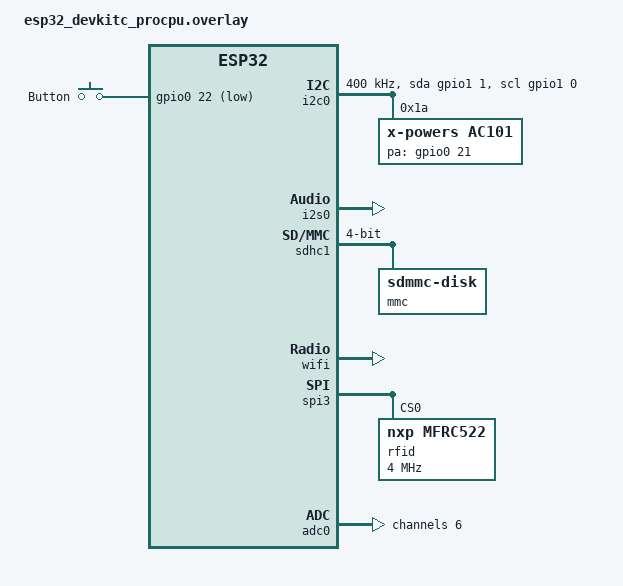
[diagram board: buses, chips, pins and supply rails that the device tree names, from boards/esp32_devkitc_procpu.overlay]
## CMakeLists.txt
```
cmake_minimum_required(VERSION 3.20.0)

find_package(Zephyr REQUIRED HINTS $ENV{ZEPHYR_BASE})
project(wirbelwind)

target_include_directories(app PRIVATE src lib/minimp3)

target_sources(app PRIVATE
    src/main.c
    src/events.c
    src/storage.c
    src/playlist.c
    src/resume.c
    src/player.c
    src/controller.c
    src/inputs.c
    src/shell.c)

# minimp3 mixes float and double constants
set_source_files_properties(src/player.c PROPERTIES COMPILE_OPTIONS -Wno-double-promotion)

# native_sim: simulated hardware and host audio output
target_sources_ifdef(CONFIG_WW_SIM app PRIVATE src/native/sim.c)
if(CONFIG_WW_AUDIO_NATIVE)
  target_sources(app PRIVATE src/native/audio.c)
  # Runs on the Linux side of native_sim (host libc), see native_simulator docs
  target_sources(native_simulator INTERFACE ${CMAKE_CURRENT_SOURCE_DIR}/src/native/audio_bottom.c)
endif()

# RFID reader
target_sources_ifdef(CONFIG_WW_RFID app PRIVATE
    src/rfid/mfrc522.c
    src/rfid/reader.c)
target_sources_ifdef(CONFIG_WW_RFID_EMUL app PRIVATE src/native/mfrc522_emul.c)

# ESP32-A1S: I2S + AC101 codec
target_sources_ifdef(CONFIG_WW_AUDIO_AC101 app PRIVATE
    src/resample.c
    src/esp32a1s/ac101.c
    src/esp32a1s/audio.c)

target_sources_ifdef(CONFIG_WW_WIFI_AP app PRIVATE src/wifi.c)

if(CONFIG_WW_HTTP)
  target_sources(app PRIVATE src/http.c)
  set(gen_dir ${ZEPHYR_BINARY_DIR}/include/generated)
  zephyr_include_directories(${gen_dir})
  generate_inc_file_for_target(app web/index.html ${gen_dir}/index.html.gz.inc --gzip)
  # Linker section for the resources of the "ww_http" service
  file(WRITE ${CMAKE_CURRENT_BINARY_DIR}/http_sections.ld
    "#include <zephyr/linker/iterable_sections.h>\n"
    "ITERABLE_SECTION_ROM(http_resource_desc_ww_http, Z_LINK_ITERABLE_SUBALIGN)\n")
  zephyr_linker_sources(SECTIONS ${CMAKE_CURRENT_BINARY_DIR}/http_sections.ld)
endif()
```

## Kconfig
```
# Copyright 2025 Christoph Jans
# SPDX-License-Identifier: Apache-2.0

mainmenu "WirbelWind"

menu "WirbelWind"

module = WW
module-str = wirbelwind
source "subsys/logging/Kconfig.template.log_config"

config WW_SD_MOUNT_POINT
	string "Mount point of the SD card"
	default "/SD:"
	help
	  FatFs mount point. The part between '/' and ':' must match the
	  disk name of the SD card (disk-name of the flash-disk on native_sim,
	  "SD" for the sdmmc disk on real hardware).

config WW_PLAYLIST_MAX_TRACKS
	int "Maximum number of tracks per playlist"
	default 64

config WW_PLAYLIST_BUF_SIZE
	int "Buffer size for one playlist (JSON + strings)"
	default 6144

config WW_VOLUME_MAX
	int "Maximum volume step"
	default 20

config WW_VOLUME_DEFAULT
	int "Volume on boards without a volume potentiometer"
	default 8

config WW_BUTTON_LONG_MS
	int "Button: minimum duration of a long press (restart playlist) [ms]"
	default 1000

config WW_BUTTON_LONGLONG_MS
	int "Button: minimum duration of a very long press (reset all playlists) [ms]"
	default 10000

config WW_RESUME_SAVE_INTERVAL_S
	int "Interval for persisting the play position while playing [s]"
	default 30

config WW_CONTROLLER_STACK_SIZE
	int "Controller thread stack size"
	default 4096

config WW_PLAYER_STACK_SIZE
	int "Player thread stack size"
	default 32768
	help
	  minimp3 keeps its ~16 KiB scratch area on the stack.

config WW_PLAYER_PRIORITY
	int "Player thread priority"
	default 4

config WW_PLAYER_INBUF_SIZE
	int "MP3 input buffer size"
	default 16384

config WW_RFID
	bool "RFID reader: MFRC522 (rfid/)"
	default y
	depends on DT_HAS_NXP_MFRC522_ENABLED
	select SPI

if WW_RFID

config WW_RFID_INIT_PRIORITY
	int "MFRC522 driver init priority"
	default 90
	help
	  Must be after the SPI controller (and its emulators on native_sim).

config WW_RFID_POLL_MS
	int "Poll interval of the tag reader [ms]"
	default 250

config WW_RFID_REMOVE_POLLS
	int "Polls without the card before it counts as removed"
	default 3

endif

config WW_RFID_EMUL
	bool "Emulated MFRC522 with a card placed from the shell (native/mfrc522_emul.c)"
	default y if BOARD_NATIVE_SIM
	depends on WW_RFID && EMUL && SPI_EMUL && SHELL
	help
	  "ww tag place <uid>" / "ww tag remove" put a card on the emulated
	  reader, so the real driver and tag reader run in the simulation.

config WW_TAG_SHELL
	bool "Shell commands that post tag events directly (ww tag place/remove)"
	default y
	depends on SHELL && !WW_RFID_EMUL
	help
	  Bypasses the RFID reader, useful on real hardware to try playlists
	  without tags.

config WW_SIM
	bool "Simulated button and volume pot (native/sim.c)"
	default y if BOARD_NATIVE_SIM
	depends on SHELL && GPIO_EMUL && ADC_EMUL
	help
	  Shell commands "ww button" and "ww pot" that drive the controls of
	  the box through the GPIO and ADC emulators.

config WW_AUDIO_NATIVE
	bool "Host audio output on native_sim (native/audio.c)"
	default y
	depends on ARCH_POSIX
	help
	  Pipes the PCM to a host command (--audio_cmd) or writes it to a
	  file (--audio_file).

config WW_AUDIO_AC101
	bool "ESP32-A1S audio output: I2S + AC101 codec (esp32a1s/)"
	default y
	depends on DT_HAS_X_POWERS_AC101_ENABLED
	select I2S
	select I2C

if WW_AUDIO_AC101

config WW_AC101_HP_VOLUME
	int "AC101 headphone output level (0..63)"
	range 0 63
	default 40

config WW_AC101_SPK_VOLUME
	int "AC101 speaker output level (0..31)"
	range 0 31
	default 20

endif

config WW_WIFI_AP
	bool "WiFi hotspot at startup when no tag is on the box (wifi.c)"
	default y
	depends on WIFI && NET_DHCPV4_SERVER

if WW_WIFI_AP

config WW_WIFI_AP_SSID
	string "Hotspot name"
	default "music.Box"

config WW_WIFI_AP_PSK
	string "Hotspot password (8..63 characters, empty = open network)"
	default ""

config WW_WIFI_AP_IP
	string "Address of the box in the hotspot (/24)"
	default "192.168.4.1"

config WW_WIFI_AP_DELAY_MS
	int "Time after startup to wait for a tag before opening the hotspot [ms]"
	default 3000

endif

config WW_HTTP
	bool "Web interface"
	default y
	depends on HTTP_SERVER

if WW_HTTP

config WW_HTTP_PORT
	int "Web interface TCP port"
	default 80

config WW_HTTP_RESPONSE_SIZE
	int "Buffer for one JSON response"
	default 8192

endif

endmenu

source "Kconfig.zephyr"
```

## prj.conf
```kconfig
CONFIG_LOG=y
CONFIG_SHELL=y
# Logs go through the shell. Buffer the boot messages until the shell is up,
# otherwise they are lost
CONFIG_LOG_MODE_DEFERRED=y
CONFIG_LOG_PROCESS_THREAD_STARTUP_DELAY_MS=200
CONFIG_LOG_PROCESS_TRIGGER_THRESHOLD=1

# FPU is used by the MP3 decoder
CONFIG_FPU=y

# SD card with FAT, used by several threads (player, shell, web)
CONFIG_DISK_ACCESS=y
CONFIG_FILE_SYSTEM=y
CONFIG_FAT_FILESYSTEM_ELM=y
CONFIG_FS_FATFS_LFN=y
CONFIG_FS_FATFS_LFN_MODE_STACK=y
CONFIG_FS_FATFS_REENTRANT=y
CONFIG_FS_FATFS_CODEPAGE=850
CONFIG_FS_FATFS_NUM_FILES=6
CONFIG_FS_FATFS_NUM_DIRS=4

# Playlists are stored as JSON
CONFIG_JSON_LIBRARY=y

# Resume positions and volume live in internal flash
CONFIG_FLASH=y
CONFIG_FLASH_MAP=y
CONFIG_NVS=y
CONFIG_SETTINGS=y

# Button and volume potentiometer
CONFIG_INPUT=y
CONFIG_ADC=y

# Web interface (network: host sockets on native_sim, WiFi hotspot on the ESP32)
CONFIG_NETWORKING=y
CONFIG_NET_IPV4=y
CONFIG_NET_IPV6=n
CONFIG_NET_TCP=y
CONFIG_NET_SOCKETS=y
CONFIG_ZVFS_OPEN_MAX=24
CONFIG_ZVFS_POLL_MAX=16
CONFIG_HTTP_SERVER=y
CONFIG_HTTP_SERVER_VERSION_2=n
CONFIG_HTTP_SERVER_CLIENT_BUFFER_SIZE=2048
CONFIG_HTTP_SERVER_STACK_SIZE=6144

CONFIG_MAIN_STACK_SIZE=4096
CONFIG_SHELL_STACK_SIZE=4096
```

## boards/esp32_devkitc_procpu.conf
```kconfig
# Ai-Thinker ESP32 Audio Kit (ESP32-A1S, AC101), see the .overlay

# SD card on the SDMMC host
CONFIG_SDHC=y
CONFIG_DISK_DRIVER_SDMMC=y

CONFIG_GPIO=y
CONFIG_I2C=y
CONFIG_I2S=y
CONFIG_SPI=y
# The A1S module has 8 MB PSRAM (like the WROVER-E of the base board); the
# WiFi driver keeps its heap there, internal RAM is too small for everything
CONFIG_ESP_SPIRAM=y
CONFIG_ESP_WIFI_HEAP_SPIRAM=y

# WiFi hotspot "music.Box" with DHCP server (wifi.c)
CONFIG_WIFI=y
CONFIG_NET_L2_WIFI_MGMT=y
CONFIG_NET_MGMT=y
CONFIG_NET_MGMT_EVENT=y
CONFIG_NET_UDP=y
CONFIG_NET_DHCPV4_SERVER=y

# Short SD card hiccups must not stop the I2S stream
CONFIG_I2S_ESP32_ALLOWED_EMPTY_TX_QUEUE_DEFERRAL_TIME_MS=20
```

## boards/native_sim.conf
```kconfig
# The "SD card" is a FAT image on a second flash simulator instance
CONFIG_DISK_DRIVER_FLASH=y
# Format the image on first start if it does not contain a FAT yet
CONFIG_FS_FATFS_MKFS=y
CONFIG_FS_FATFS_MOUNT_MKFS=y

CONFIG_GPIO=y

# Emulated RFID reader on the SPI emulator
CONFIG_SPI=y
CONFIG_EMUL=y

# Logs go to the shell only (run with -uart_stdinout for an interactive terminal)
CONFIG_LOG_BACKEND_NATIVE_POSIX=n

# Network through the host's sockets: http://localhost:8080
CONFIG_ETH_NATIVE_TAP=n
CONFIG_NET_DRIVERS=y
CONFIG_NET_SOCKETS_OFFLOAD=y
CONFIG_NET_NATIVE_OFFLOADED_SOCKETS=y
CONFIG_WW_HTTP_PORT=8080
```

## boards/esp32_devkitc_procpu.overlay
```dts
/*
 * Copyright (c) 2025 Christoph Jans <jans.christoph@gmail.com>
 *
 * SPDX-License-Identifier: Apache-2.0
 *
 * Ai-Thinker ESP32 Audio Kit v2.2 (ESP32-A1S with AC101 codec) on top of
 * esp32_devkitc. Pins as used by the Arduino version of the box.
 *
 *   I2S0   BCLK 27, LRCK 26, DOUT 25 (to the codec), MCLK 0 (see esp32a1s/audio.c)
 *   I2C0   SDA 33, SCL 32: AC101 at 0x1a
 *   PA     21 (speaker amplifier enable)
 *   SD     4 bit: CLK 14, CMD 15, D0 2, D1 4, D2 12, D3 13
 *   Button 22
 *   Pot    34 (ADC1 channel 6)            <- placeholder, adjust to the wiring
 *   RFID   MFRC522 on VSPI: SCK 18, MISO 19, MOSI 23, CS 5 (spi3)
 *   WiFi   hotspot "music.Box" at startup without a tag (wifi.c)
 */

#include <zephyr/dt-bindings/adc/adc.h>
#include <zephyr/dt-bindings/i2c/i2c.h>

/ {
	/* Volume potentiometer, see inputs.c */
	volume_pot: volume_pot {
		compatible = "analog-axis";
		poll-period-ms = <50>;

		axis {
			io-channels = <&adc0 6>;
			in-min = <0>;
			in-max = <4095>;
			out-min = <0>;
			out-max = <1000>;
			zephyr,axis = <INPUT_ABS_THROTTLE>;
		};
	};
};

/* The base board's BOOT button (GPIO0 is MCLK here) becomes the box button */
&button0 {
	gpios = <&gpio0 22 (GPIO_PULL_UP | GPIO_ACTIVE_LOW)>;
	label = "Button";
	zephyr,code = <INPUT_KEY_NEXTSONG>;
};

&i2c0_default {
	group1 {
		pinmux = <I2C0_SDA_GPIO33>,
			 <I2C0_SCL_GPIO32>;
	};
};

&i2c0 {
	clock-frequency = <I2C_BITRATE_FAST>;
	sda-gpios = <&gpio1 1 GPIO_OPEN_DRAIN>;
	scl-gpios = <&gpio1 0 GPIO_OPEN_DRAIN>;

	ac101: codec@1a {
		compatible = "x-powers,ac101";
		reg = <0x1a>;
		i2s = <&i2s0>;
		pa-gpios = <&gpio0 21 GPIO_ACTIVE_HIGH>;
	};
};

&i2s0_default {
	group1 {
		pinmux = <I2S0_O_BCK_GPIO27>,
			 <I2S0_O_WS_GPIO26>,
			 <I2S0_O_SD_GPIO25>;
	};
};

&i2s0 {
	status = "okay";
	interrupts = <I2S0_INTR_SOURCE IRQ_DEFAULT_PRIORITY 0>;
	interrupt-names = "tx";
};

/* Its default pins are the SD card here */
&spi2 {
	status = "disabled";
};

&sdhc1 {
	status = "okay";

	max-bus-freq = <20000000>;
	bus-width = <4>;

	clk-pin = <14>;
	cmd-pin = <15>;
	d0-pin = <2>;
	d1-pin = <4>;
	d2-pin = <12>;
	d3-pin = <13>;

	mmc {
		compatible = "zephyr,sdmmc-disk";
		disk-name = "SD";
		status = "okay";
	};
};

&wifi {
	status = "okay";
};

/* MFRC522 on VSPI (SCK 18, MISO 19, MOSI 23, hardware CS 5), no reset pin */
&spi3 {
	rfid: rfid@0 {
		compatible = "nxp,mfrc522";
		reg = <0>;
		spi-max-frequency = <4000000>;
	};
};

&adc0 {
	status = "okay";
	#address-cells = <1>;
	#size-cells = <0>;

	channel@6 {
		reg = <6>;
		/* 12 dB attenuation: 0..3.3 V */
		zephyr,gain = "ADC_GAIN_1_4";
		zephyr,reference = "ADC_REF_INTERNAL";
		zephyr,acquisition-time = <ADC_ACQ_TIME_DEFAULT>;
		zephyr,resolution = <12>;
	};
};
```

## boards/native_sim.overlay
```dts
/*
 * Copyright (c) 2025 Christoph Jans <jans.christoph@gmail.com>
 *
 * SPDX-License-Identifier: Apache-2.0
 */

#include <zephyr/dt-bindings/adc/adc.h>
#include <zephyr/dt-bindings/input/input-event-codes.h>

/ {
	/* SD card replacement: FAT image backed by a host file */
	sdflashctrl: flash-controller@40000000 {
		compatible = "zephyr,sim-flash";
		reg = <0x40000000 DT_SIZE_M(64)>;
		#address-cells = <1>;
		#size-cells = <1>;
		erase-value = <0xff>;

		sdcard: flash@40000000 {
			compatible = "soc-nv-flash";
			/* names the command line option: --sdcard=<file> */
			label = "sdcard";
			erase-block-size = <4096>;
			write-block-size = <1>;
			reg = <0x40000000 DT_SIZE_M(64)>;

			partitions {
				compatible = "fixed-partitions";
				#address-cells = <1>;
				#size-cells = <1>;

				sd_partition: partition@0 {
					label = "sd";
					reg = <0x00000000 DT_SIZE_M(64)>;
				};
			};
		};
	};

	sd_disk {
		compatible = "zephyr,flash-disk";
		partition = <&sd_partition>;
		disk-name = "SD";
		cache-size = <4096>;
	};

	/* The button on the GPIO emulator: "ww button [ms]" */
	buttons {
		compatible = "gpio-keys";

		button: button {
			/* active high, because emulated inputs start at 0 (released) */
			gpios = <&gpio0 10 GPIO_ACTIVE_HIGH>;
			zephyr,code = <INPUT_KEY_NEXTSONG>;
		};
	};

	/* Volume potentiometer on the ADC emulator: "ww pot <0..100>" */
	volume_pot: volume_pot {
		compatible = "analog-axis";
		poll-period-ms = <50>;

		axis {
			io-channels = <&adc0 0>;
			in-min = <0>;
			in-max = <4095>;
			out-min = <0>;
			out-max = <1000>;
			zephyr,axis = <INPUT_ABS_THROTTLE>;
		};
	};
};

/* RFID reader on the SPI emulator: native/mfrc522_emul.c, "ww tag place <uid>" */
&spi0 {
	rfid: rfid@0 {
		compatible = "nxp,mfrc522";
		reg = <0>;
		spi-max-frequency = <4000000>;
	};
};

&adc0 {
	ref-internal-mv = <3300>;
	#address-cells = <1>;
	#size-cells = <0>;

	channel@0 {
		reg = <0>;
		zephyr,gain = "ADC_GAIN_1";
		zephyr,reference = "ADC_REF_INTERNAL";
		zephyr,acquisition-time = <ADC_ACQ_TIME_DEFAULT>;
		zephyr,resolution = <12>;
	};
};
```

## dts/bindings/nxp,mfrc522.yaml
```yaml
# Copyright (c) 2025 Christoph Jans <jans.christoph@gmail.com>
# SPDX-License-Identifier: Apache-2.0

description: NXP MFRC522 13.56 MHz RFID reader (ISO 14443A), SPI interface

compatible: "nxp,mfrc522"

include: spi-device.yaml

properties:
  reset-gpios:
    type: phandle-array
    description: NRSTPD pin (active low reset / power down), optional
```

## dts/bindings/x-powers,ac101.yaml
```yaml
# Copyright (c) 2025 Christoph Jans <jans.christoph@gmail.com>
# SPDX-License-Identifier: Apache-2.0

description: |
  X-Powers AC101 audio codec (ESP32-A1S module), controlled over I2C.
  Audio data comes over I2S with the codec as slave; its PLL runs from the
  I2S master clock (256 x 44.1 kHz).

compatible: "x-powers,ac101"

include: i2c-device.yaml

properties:
  pa-gpios:
    type: phandle-array
    description: Enable of the speaker amplifier

  i2s:
    type: phandle
    required: true
    description: I2S controller the codec is connected to
```

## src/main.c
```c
/*
 * Copyright (c) 2025 Christoph Jans <jans.christoph@gmail.com>
 *
 * SPDX-License-Identifier: Apache-2.0
 */

#include <zephyr/kernel.h>
#include <zephyr/logging/log.h>
#include <zephyr/settings/settings.h>

#include "controller.h"
#include "http.h"
#include "storage.h"

LOG_MODULE_REGISTER(ww, CONFIG_WW_LOG_LEVEL);

int main(void)
{
	int ret;

	LOG_INF("Hello WirbelWind");

	ret = settings_subsys_init();
	if (ret) {
		LOG_ERR("Settings init failed: %d", ret);
		return ret;
	}

	ret = ww_storage_init();
	if (ret) {
		LOG_ERR("No SD card, giving up");
		return ret;
	}

	ret = ww_controller_init();
	if (ret) {
		return ret;
	}

	if (IS_ENABLED(CONFIG_WW_HTTP)) {
		ret = ww_http_init();
	}

	return ret;
}
```

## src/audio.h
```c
/*
 * Copyright (c) 2025 Christoph Jans <jans.christoph@gmail.com>
 *
 * SPDX-License-Identifier: Apache-2.0
 */
/* Audio output, implemented per platform (native/audio.c, ...).
 * Interleaved signed 16 bit PCM. */

#ifndef WW_AUDIO_H_
#define WW_AUDIO_H_

#include <stddef.h>
#include <stdint.h>

int audio_sink_init(void);
/* (Re)configure and start the output, called before the first write after a stop */
int audio_sink_start(uint32_t rate, uint8_t channels);
/* Blocks until the data is accepted, i.e. paces the caller to real time */
int audio_sink_write(const int16_t *samples, size_t frames);
/* Stop the output (pause or end of track) */
void audio_sink_stop(void);

#endif /* WW_AUDIO_H_ */
```

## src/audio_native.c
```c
/*
 * Copyright (c) 2025 Christoph Jans <jans.christoph@gmail.com>
 *
 * SPDX-License-Identifier: Apache-2.0
 *
 * native_sim audio output. Command line options:
 *   --audio_cmd="aplay -q -f S16_LE -r {rate} -c {ch}"   play on the host
 *   --audio_file=out.raw                                append raw PCM to a file
 * Without either option the audio is discarded (but still paced in real time).
 */

#include <zephyr/logging/log.h>

#include <cmdline.h>
#include <posix_native_task.h>

#include "wirbelwind.h"

LOG_MODULE_DECLARE(ww, CONFIG_WW_LOG_LEVEL);

/* Host side, see audio_native_bottom.c */
int ww_audio_host_open(const char *cmd, const char *file, unsigned int rate, unsigned int ch);
int ww_audio_host_write(const void *buf, unsigned int len);
void ww_audio_host_close(void);

/* There is no hardware clock: keep the producer at real time */
struct audio_pacer {
	int64_t t0;
	uint64_t frames;
	uint32_t rate;
};

#define AUDIO_PACER_LEAD_MS 100

static void audio_pacer_start(struct audio_pacer *p, uint32_t rate)
{
	p->t0 = k_uptime_get();
	p->frames = 0;
	p->rate = rate;
}

static void audio_pacer_wait(struct audio_pacer *p, size_t frames)
{
	int64_t ahead;

	p->frames += frames;
	ahead = (int64_t)(p->frames * 1000 / p->rate) - (k_uptime_get() - p->t0);
	if (ahead > AUDIO_PACER_LEAD_MS) {
		k_msleep(ahead - AUDIO_PACER_LEAD_MS);
	} else if (ahead < -AUDIO_PACER_LEAD_MS) {
		/* Fell behind (e.g. slow SD card), don't try to catch up in a burst */
		audio_pacer_start(p, p->rate);
	}
}

static const char *audio_cmd;
static const char *audio_file;
static struct audio_pacer pacer;
static bool host_open;
static uint8_t num_channels;

static void audio_host_options(void)
{
	static struct args_struct_t options[] = {
		{.option = "audio_cmd",
		 .name = "cmd",
		 .type = 's',
		 .dest = (void *)&audio_cmd,
		 .descript = "Host command that plays raw s16le PCM from stdin, "
			     "{rate} and {ch} are replaced, e.g. "
			     "\"aplay -q -f S16_LE -r {rate} -c {ch}\""},
		{.option = "audio_file",
		 .name = "path",
		 .type = 's',
		 .dest = (void *)&audio_file,
		 .descript = "Append the raw s16le PCM output to this file"},
		ARG_TABLE_ENDMARKER,
	};

	native_add_command_line_opts(options);
}

NATIVE_TASK(audio_host_options, PRE_BOOT_1, 10);

int audio_sink_init(void)
{
	if (audio_cmd) {
		LOG_INF("Audio output: %s", audio_cmd);
	} else if (audio_file) {
		LOG_INF("Audio output: file %s", audio_file);
	} else {
		LOG_INF("Audio output: none (use --audio_cmd or --audio_file)");
	}

	return 0;
}

int audio_sink_start(uint32_t rate, uint8_t channels)
{
	audio_pacer_start(&pacer, rate);
	num_channels = channels;

	if (audio_cmd == NULL && audio_file == NULL) {
		return 0;
	}
	if (ww_audio_host_open(audio_cmd, audio_file, rate, channels)) {
		LOG_ERR("Cannot open host audio output");
		return -EIO;
	}
	host_open = true;

	return 0;
}

int audio_sink_write(const int16_t *samples, size_t frames)
{
	if (host_open) {
		ww_audio_host_write(samples, frames * num_channels * sizeof(int16_t));
	}
	audio_pacer_wait(&pacer, frames);

	return 0;
}

void audio_sink_stop(void)
{
	if (host_open) {
		ww_audio_host_close();
		host_open = false;
	}
}
```

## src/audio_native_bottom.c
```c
/*
 * Copyright (c) 2025 Christoph Jans <jans.christoph@gmail.com>
 *
 * SPDX-License-Identifier: Apache-2.0
 *
 * Host side (Linux libc) of the native_sim audio sink.
 */

#include <signal.h>
#include <stdio.h>
#include <string.h>

/*
 * Plain C types only, the embedded side declares these in audio_native.c.
 * cmd: a shell command reading raw s16le PCM from stdin, "{rate}" and "{ch}"
 * get replaced; file: raw PCM is appended.
 */
int ww_audio_host_open(const char *cmd, const char *file, unsigned int rate, unsigned int ch);
int ww_audio_host_write(const void *buf, unsigned int len);
void ww_audio_host_close(void);

static FILE *out;
static int out_is_pipe;

static void expand(char *dst, size_t len, const char *cmd, unsigned int rate, unsigned int ch)
{
	size_t n = 0;

	while (*cmd && n + 1 < len) {
		if (strncmp(cmd, "{rate}", 6) == 0) {
			n += snprintf(&dst[n], len - n, "%u", rate);
			cmd += 6;
		} else if (strncmp(cmd, "{ch}", 4) == 0) {
			n += snprintf(&dst[n], len - n, "%u", ch);
			cmd += 4;
		} else {
			dst[n++] = *cmd++;
		}
	}
	dst[n < len ? n : len - 1] = '\0';
}

int ww_audio_host_open(const char *cmd, const char *file, unsigned int rate, unsigned int ch)
{
	char line[512];

	ww_audio_host_close();

	/* A dying player must not kill the simulation */
	signal(SIGPIPE, SIG_IGN);

	if (cmd != NULL) {
		expand(line, sizeof(line), cmd, rate, ch);
		out = popen(line, "w");
		out_is_pipe = 1;
	} else if (file != NULL) {
		out = fopen(file, "ab");
		out_is_pipe = 0;
	}

	return out ? 0 : -1;
}

int ww_audio_host_write(const void *buf, unsigned int len)
{
	if (out == NULL) {
		return -1;
	}
	if (fwrite(buf, 1, len, out) != len) {
		return -1;
	}
	fflush(out);

	return 0;
}

void ww_audio_host_close(void)
{
	if (out == NULL) {
		return;
	}
	if (out_is_pipe) {
		pclose(out);
	} else {
		fclose(out);
	}
	out = NULL;
}
```

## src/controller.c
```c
/*
 * Copyright (c) 2025 Christoph Jans <jans.christoph@gmail.com>
 *
 * SPDX-License-Identifier: Apache-2.0
 *
 * The box logic: tags select playlists, the button and the user interfaces
 * control playback, the position of every playlist is remembered.
 */

#include <errno.h>
#include <string.h>

#include <zephyr/kernel.h>
#include <zephyr/logging/log.h>
#include <zephyr/sys/util.h>

#include "controller.h"
#include "player.h"
#include "playlist.h"
#include "resume.h"

LOG_MODULE_DECLARE(ww, CONFIG_WW_LOG_LEVEL);

/* With a volume pot, the volume is 0 until the pot reports its position */
#define HAS_POT DT_NODE_EXISTS(DT_NODELABEL(volume_pot))

static K_MUTEX_DEFINE(ctl_lock);
static struct ww_playlist pl;
static bool pl_loaded;
static bool tag_present;
static size_t cur_track;
static uint8_t volume;
static int64_t last_save;

/* Box logic */

static enum ww_player_state player_state(void)
{
	struct ww_player_status st;

	ww_player_get_status(&st);

	return st.state;
}

static void save_resume(void)
{
	struct ww_player_status st;
	struct ww_resume r;

	if (!pl_loaded) {
		return;
	}

	ww_player_get_status(&st);
	r.track = cur_track;
	r.pos_ms = (st.state == WW_PLAYER_STOPPED) ? 0 : st.pos_ms;
	ww_resume_save(pl.uuid, &r);
	last_save = k_uptime_get();
	LOG_DBG("Saved %s: track %u @ %u ms", pl.uuid, r.track, r.pos_ms);
}

/* Starts track idx; skips unplayable tracks. */
static int start_track(size_t idx, uint32_t pos_ms)
{
	size_t n = pl.d.num_tracks;

	for (size_t tries = 0; tries < n; tries++, idx = (idx + 1) % n, pos_ms = 0) {
		cur_track = idx;
		LOG_INF("Track %u/%u: %s", idx + 1, n, pl.d.tracks[idx]);
		if (ww_player_play(pl.d.tracks[idx], pos_ms) == 0) {
			return 0;
		}
	}

	LOG_ERR("No playable track in playlist %s", pl.uuid);

	return -ENOENT;
}

static bool can_play(void)
{
	if (!tag_present || !pl_loaded) {
		LOG_INF("No tag");
		return false;
	}
	if (pl.d.num_tracks == 0) {
		LOG_INF("Playlist %s is empty", pl.uuid);
		return false;
	}

	return true;
}

static void set_volume(int v)
{
	volume = CLAMP(v, 0, CONFIG_WW_VOLUME_MAX);
	ww_player_set_volume(volume);
	LOG_INF("Volume %u/%u", volume, CONFIG_WW_VOLUME_MAX);
}

static void next_track(void)
{
	if (!can_play()) {
		return;
	}
	if (cur_track + 1 >= pl.d.num_tracks) {
		LOG_INF("Already at the last track");
		return;
	}
	start_track(cur_track + 1, 0);
	save_resume();
}

static void seek_to(int64_t pos_ms)
{
	if (!can_play() || player_state() == WW_PLAYER_STOPPED) {
		return;
	}
	ww_player_seek(MAX(pos_ms, 0));
	save_resume();
}

static void reset_playlist(void)
{
	if (!can_play()) {
		return;
	}
	LOG_INF("Restarting playlist %s", pl.uuid);
	ww_resume_clear(pl.uuid);
	start_track(0, 0);
}

static void reset_all(void)
{
	LOG_INF("Forgetting the positions of all playlists");
	ww_resume_clear_all();
	if (pl_loaded && tag_present && pl.d.num_tracks > 0) {
		start_track(0, 0);
	} else {
		cur_track = 0;
	}
}

static void on_tag_placed(const char *uid)
{
	struct ww_resume r;
	int ret;

	tag_present = true;

	if (pl_loaded && strcmp(pl.uuid, uid) == 0) {
		LOG_INF("Tag %s is back", uid);
		switch (player_state()) {
		case WW_PLAYER_PAUSED:
			ww_player_resume();
			return;
		case WW_PLAYER_PLAYING:
			return;
		case WW_PLAYER_STOPPED:
			break;
		}
	} else {
		if (pl_loaded) {
			save_resume();
			ww_player_stop();
		}

		ret = ww_playlist_load(&pl, uid);
		if (ret == -ENOENT) {
			LOG_INF("New tag %s, creating an empty playlist", uid);
			ret = ww_playlist_create(&pl, uid, NULL);
		}
		pl_loaded = (ret == 0);
		if (!pl_loaded) {
			LOG_ERR("Cannot load playlist for tag %s: %d", uid, ret);
			return;
		}
		LOG_INF("Tag %s: \"%s\" with %u tracks", uid, pl.d.name, pl.d.num_tracks);
	}

	if (!can_play()) {
		return;
	}

	ww_resume_load(uid, &r);
	if (r.track >= pl.d.num_tracks) {
		r.track = 0;
		r.pos_ms = 0;
	}
	start_track(r.track, r.pos_ms);
}

static void on_tag_removed(void)
{
	LOG_INF("Tag removed");
	tag_present = false;
	if (player_state() == WW_PLAYER_PLAYING) {
		ww_player_pause();
	}
	save_resume();
}

static void on_track_done(void)
{
	/* Ignore stale notifications, e.g. "next" was pressed at the very end */
	if (player_state() != WW_PLAYER_STOPPED || !pl_loaded) {
		return;
	}

	if (cur_track + 1 < pl.d.num_tracks) {
		start_track(cur_track + 1, 0);
		save_resume();
		return;
	}

	LOG_INF("Playlist %s finished", pl.uuid);
	cur_track = 0;
	ww_resume_clear(pl.uuid);
}

static void on_reload(void)
{
	char uuid[WW_UID_STR_LEN];

	if (!pl_loaded) {
		return;
	}

	strcpy(uuid, pl.uuid);
	pl_loaded = (ww_playlist_load(&pl, uuid) == 0);
	if (!pl_loaded || cur_track >= pl.d.num_tracks) {
		ww_player_stop();
		cur_track = 0;
	}
	if (pl_loaded) {
		LOG_DBG("Reloaded \"%s\" with %u tracks", pl.d.name, pl.d.num_tracks);
	}
}

static void on_button(enum ww_press press)
{
	switch (press) {
	case WW_PRESS_SHORT:
		next_track();
		break;
	case WW_PRESS_LONG:
		reset_playlist();
		break;
	case WW_PRESS_LONGLONG:
		reset_all();
		break;
	}
}

static void on_cmd(enum ww_cmd cmd, int32_t arg)
{
	switch (cmd) {
	case WW_CMD_PAUSE:
		if (player_state() == WW_PLAYER_PLAYING) {
			ww_player_pause();
			save_resume();
		}
		break;
	case WW_CMD_RESUME:
		if (player_state() == WW_PLAYER_PAUSED && can_play()) {
			ww_player_resume();
		}
		break;
	case WW_CMD_NEXT:
		next_track();
		break;
	case WW_CMD_VOLUME:
		set_volume(arg);
		break;
	case WW_CMD_SEEK:
		seek_to((int64_t)arg * 1000);
		break;
	case WW_CMD_TRACK:
		if (can_play() && arg >= 0 && arg < pl.d.num_tracks) {
			start_track(arg, 0);
			save_resume();
		}
		break;
	case WW_CMD_RESET:
		reset_playlist();
		break;
	case WW_CMD_RESET_ALL:
		reset_all();
		break;
	case WW_CMD_RELOAD:
		on_reload();
		break;
	}
}

static void player_done(int err)
{
	struct ww_event ev = {.type = WW_EV_TRACK_DONE};

	ARG_UNUSED(err);
	ww_event_post(&ev);
}

static void controller_thread(void *p1, void *p2, void *p3)
{
	struct ww_event ev;

	for (;;) {
		int ret = ww_event_get(&ev, K_SECONDS(1));

		k_mutex_lock(&ctl_lock, K_FOREVER);

		if (ret == 0) {
			switch (ev.type) {
			case WW_EV_TAG_PLACED:
				on_tag_placed(ev.tag.uid);
				break;
			case WW_EV_TAG_REMOVED:
				on_tag_removed();
				break;
			case WW_EV_BUTTON:
				on_button(ev.press);
				break;
			case WW_EV_TRACK_DONE:
				on_track_done();
				break;
			case WW_EV_CMD:
				on_cmd(ev.cmd.cmd, ev.cmd.arg);
				break;
			}
		}

		/* Persist the position now and then, in case the power goes away */
		if (player_state() == WW_PLAYER_PLAYING &&
		    k_uptime_get() - last_save > CONFIG_WW_RESUME_SAVE_INTERVAL_S * MSEC_PER_SEC) {
			save_resume();
		}

		k_mutex_unlock(&ctl_lock);
	}
}

K_THREAD_DEFINE(controller_tid, CONFIG_WW_CONTROLLER_STACK_SIZE, controller_thread, NULL, NULL,
		NULL, 5, 0, -1);

int ww_controller_init(void)
{
	int ret;

	volume = HAS_POT ? 0 : CONFIG_WW_VOLUME_DEFAULT;
	ww_player_set_volume(volume);
	LOG_INF("Volume %u/%u", volume, CONFIG_WW_VOLUME_MAX);

	ret = ww_player_init(player_done);
	if (ret) {
		return ret;
	}

	k_thread_name_set(controller_tid, "controller");
	k_thread_start(controller_tid);

	return 0;
}

int ww_controller_cue(const char *uuid, size_t track)
{
	struct ww_resume r = {.track = track};
	int ret = 0;

	k_mutex_lock(&ctl_lock, K_FOREVER);

	if (!pl_loaded || strcmp(pl.uuid, uuid) != 0) {
		/* Not on the box: used when its tag is placed the next time */
		ret = ww_resume_save(uuid, &r);
	} else if (track >= pl.d.num_tracks) {
		ret = -EINVAL;
	} else if (tag_present) {
		start_track(track, 0);
		save_resume();
	} else {
		/* Paused because the tag was removed: drop the paused position */
		ww_player_stop();
		cur_track = track;
		ret = ww_resume_save(uuid, &r);
	}

	k_mutex_unlock(&ctl_lock);

	return ret;
}

void ww_controller_get_status(struct ww_status *st)
{
	memset(st, 0, sizeof(*st));

	k_mutex_lock(&ctl_lock, K_FOREVER);
	st->tag_present = tag_present;
	st->volume = volume;
	if (pl_loaded) {
		strncpy(st->uid, pl.uuid, sizeof(st->uid) - 1);
		strncpy(st->name, pl.d.name, sizeof(st->name) - 1);
		st->num_tracks = pl.d.num_tracks;
		st->track = cur_track;
		if (cur_track < pl.d.num_tracks) {
			strncpy(st->track_path, pl.d.tracks[cur_track], sizeof(st->track_path) - 1);
		}
	}
	k_mutex_unlock(&ctl_lock);

	ww_player_get_status(&st->player);
}
```

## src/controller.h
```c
/*
 * Copyright (c) 2025 Christoph Jans <jans.christoph@gmail.com>
 *
 * SPDX-License-Identifier: Apache-2.0
 */
/* The box logic: tags select playlists, the button and the UIs control playback */

#ifndef WW_CONTROLLER_H_
#define WW_CONTROLLER_H_

#include <stdbool.h>
#include <stddef.h>

#include "events.h"
#include "player.h"

struct ww_status {
	bool tag_present;
	char uid[WW_UID_STR_LEN];
	char name[64];
	size_t track;
	size_t num_tracks;
	char track_path[128];
	uint8_t volume;
	struct ww_player_status player;
};

int ww_controller_init(void);
void ww_controller_get_status(struct ww_status *st);

/*
 * Play track (from its start) of a playlist: right away if its tag is on the
 * box, otherwise as soon as the tag is placed the next time.
 */
int ww_controller_cue(const char *uuid, size_t track);

#endif /* WW_CONTROLLER_H_ */
```

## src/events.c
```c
/*
 * Copyright (c) 2025 Christoph Jans <jans.christoph@gmail.com>
 *
 * SPDX-License-Identifier: Apache-2.0
 *
 * The controller's event queue, fed by the tag reader, the inputs, the player
 * and the user interfaces.
 */

#include <zephyr/logging/log.h>

#include "events.h"

LOG_MODULE_DECLARE(ww, CONFIG_WW_LOG_LEVEL);

K_MSGQ_DEFINE(ww_event_q, sizeof(struct ww_event), 16, 4);

int ww_event_post(const struct ww_event *ev)
{
	int ret = k_msgq_put(&ww_event_q, ev, K_NO_WAIT);

	if (ret) {
		LOG_WRN("Event queue full, dropping event %d", ev->type);
	}

	return ret;
}

int ww_event_get(struct ww_event *ev, k_timeout_t timeout)
{
	return k_msgq_get(&ww_event_q, ev, timeout);
}
```

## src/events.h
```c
/*
 * Copyright (c) 2025 Christoph Jans <jans.christoph@gmail.com>
 *
 * SPDX-License-Identifier: Apache-2.0
 */
/* Events for the controller: tags, button, end of track, commands from the UIs */

#ifndef WW_EVENTS_H_
#define WW_EVENTS_H_

#include <stdint.h>

#include <zephyr/kernel.h>

/* Hex string of a tag UID (up to 10 bytes) */
#define WW_UID_STR_LEN 21

enum ww_event_type {
	WW_EV_TAG_PLACED,
	WW_EV_TAG_REMOVED,
	WW_EV_BUTTON,
	WW_EV_TRACK_DONE,
	WW_EV_CMD,
};

enum ww_press {
	WW_PRESS_SHORT,
	WW_PRESS_LONG,
	WW_PRESS_LONGLONG,
};

/* On the box itself the tag decides about play/pause; these are for the web UI */
enum ww_cmd {
	WW_CMD_PAUSE,
	WW_CMD_RESUME, /* only while the tag is on the box */
	WW_CMD_NEXT,
	WW_CMD_VOLUME, /* arg: absolute volume */
	WW_CMD_SEEK,   /* arg: position in seconds */
	WW_CMD_TRACK,  /* arg: track index */
	WW_CMD_RESET,  /* restart the current playlist from the first track */
	WW_CMD_RESET_ALL, /* forget the positions of all playlists */
	WW_CMD_RELOAD, /* re-read the current playlist from the SD card */
};

struct ww_event {
	enum ww_event_type type;
	union {
		struct {
			char uid[WW_UID_STR_LEN];
		} tag;
		enum ww_press press;
		struct {
			enum ww_cmd cmd;
			int32_t arg;
		} cmd;
	};
};

int ww_event_post(const struct ww_event *ev);
int ww_event_get(struct ww_event *ev, k_timeout_t timeout);

static inline int ww_event_post_cmd(enum ww_cmd cmd, int32_t arg)
{
	struct ww_event ev = {.type = WW_EV_CMD, .cmd = {.cmd = cmd, .arg = arg}};

	return ww_event_post(&ev);
}

#endif /* WW_EVENTS_H_ */
```

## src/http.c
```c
/*
 * Copyright (c) 2025 Christoph Jans <jans.christoph@gmail.com>
 *
 * SPDX-License-Identifier: Apache-2.0
 *
 * Web interface: the UI (web/index.html, built in gzipped) and a JSON API.
 *
 *   GET    /api/status                      box state
 *   POST   /api/control   {"cmd":"pause|resume|next|reset|reset_all|volume|seek|track","arg":n}
 *   GET    /api/playlists                   [{"uuid","name","tracks"}]
 *   GET    /api/playlist?uuid=U             {"uuid","name","tracks":[...],"resume":{...}}
 *   POST   /api/playlist  {"uuid":U, "name":?, "add":?, "remove":?, "track":?}
 *                         creates the playlist if needed; "track" plays that track from
 *                         its start, now or when the tag is placed the next time
 *   DELETE /api/playlist?uuid=U
 *   GET    /api/files?path=/Music           [{"name","dir","size"}]
 *   POST   /api/files?path=/Music/New       create a folder
 *   PUT    /api/files?path=/Music/a.mp3     upload, the body is the file content
 *   DELETE /api/files?path=/Music/a.mp3     delete a file or an empty folder
 */

#include <errno.h>
#include <stdarg.h>
#include <stdio.h>
#include <stdlib.h>
#include <string.h>

#include <zephyr/data/json.h>
#include <zephyr/fs/fs.h>
#include <zephyr/logging/log.h>
#include <zephyr/net/http/server.h>
#include <zephyr/net/http/service.h>

#include "controller.h"
#include "events.h"
#include "http.h"
#include "player.h"
#include "playlist.h"
#include "resume.h"
#include "storage.h"

LOG_MODULE_DECLARE(ww, CONFIG_WW_LOG_LEVEL);

static uint16_t http_port = CONFIG_WW_HTTP_PORT;

HTTP_SERVICE_DEFINE(ww_http, NULL, &http_port, CONFIG_HTTP_SERVER_MAX_CLIENTS, 4, NULL, NULL,
		    NULL);

/* UI */

static const uint8_t index_html_gz[] = {
#include "index.html.gz.inc"
};

static struct http_resource_detail_static index_detail = {
	.common = {
		.type = HTTP_RESOURCE_TYPE_STATIC,
		.bitmask_of_supported_http_methods = BIT(HTTP_GET),
		.content_encoding = "gzip",
		.content_type = "text/html",
	},
	.static_data = index_html_gz,
	.static_data_len = sizeof(index_html_gz),
};

HTTP_RESOURCE_DEFINE(index_res, ww_http, "/", &index_detail);

/*
 * All callbacks run in the single HTTP server thread and every response is
 * built and sent in one go, so one set of buffers is enough.
 */

static char out[CONFIG_WW_HTTP_RESPONSE_SIZE];
static size_t out_len;
static char body[512];
static size_t body_len;

static const struct http_header cors_headers[] = {
	{.name = "Access-Control-Allow-Origin", .value = "*"},
};

static void out_printf(const char *fmt, ...)
{
	va_list ap;
	int n;

	va_start(ap, fmt);
	n = vsnprintf(&out[out_len], sizeof(out) - out_len, fmt, ap);
	va_end(ap);

	out_len = MIN(out_len + MAX(n, 0), sizeof(out) - 1);
}

/* JSON string; FAT names and our playlist strings never contain '"' or '\' */
static void out_str(const char *s)
{
	out_printf("\"");
	for (; *s; s++) {
		if ((unsigned char)*s >= 0x20) {
			out_printf("%c", *s);
		}
	}
	out_printf("\"");
}

static bool out_full(void)
{
	/* leave room for closing brackets */
	return out_len > sizeof(out) - 64;
}

static int respond(struct http_response_ctx *rsp, enum http_status status)
{
	rsp->status = status;
	rsp->headers = cors_headers;
	rsp->header_count = ARRAY_SIZE(cors_headers);
	rsp->body = out;
	rsp->body_len = out_len;
	rsp->final_chunk = true;
	out_len = 0;

	return 0;
}

static int respond_error(struct http_response_ctx *rsp, enum http_status status, int err)
{
	out_len = 0;
	out_printf("{\"error\":%d}", err);

	return respond(rsp, status);
}

static int respond_result(struct http_response_ctx *rsp, int ret)
{
	if (ret < 0) {
		return respond_error(rsp, ret == -ENOENT ? HTTP_404_NOT_FOUND : HTTP_400_BAD_REQUEST,
				     ret);
	}
	out_len = 0;
	out_printf("{\"ok\":true}");

	return respond(rsp, HTTP_200_OK);
}

static int hexval(char c)
{
	if (c >= '0' && c <= '9') {
		return c - '0';
	}
	c |= 0x20;

	return (c >= 'a' && c <= 'f') ? c - 'a' + 10 : -1;
}

/* Value of a query parameter, URL decoded */
static bool query_get(const struct http_client_ctx *client, const char *key, char *val,
		      size_t len)
{
	const char *p = strchr((const char *)client->url_buffer, '?');
	size_t key_len = strlen(key);

	while (p && *p) {
		p++;
		if (strncmp(p, key, key_len) == 0 && p[key_len] == '=') {
			size_t n = 0;

			for (p += key_len + 1; *p && *p != '&' && n + 1 < len; p++) {
				if (*p == '%' && hexval(p[1]) >= 0 && hexval(p[2]) >= 0) {
					val[n++] = hexval(p[1]) << 4 | hexval(p[2]);
					p += 2;
				} else {
					val[n++] = (*p == '+') ? ' ' : *p;
				}
			}
			val[n] = '\0';
			return true;
		}
		p = strchr(p, '&');
	}

	return false;
}

/* Card path from ?path=..., absolute and without ".." */
static bool query_path(const struct http_client_ctx *client, char *card_path, size_t len)
{
	return query_get(client, "path", card_path, len) && card_path[0] == '/' &&
	       strstr(card_path, "..") == NULL;
}

/* Collects a small request body; returns true once it is complete */
static bool collect_body(enum http_transaction_status status, const struct http_request_ctx *req)
{
	if (status == HTTP_SERVER_REQUEST_DATA_MORE || status == HTTP_SERVER_REQUEST_DATA_FINAL) {
		size_t n = MIN(req->data_len, sizeof(body) - 1 - body_len);

		memcpy(&body[body_len], req->data, n);
		body_len += n;
	}
	if (status != HTTP_SERVER_REQUEST_DATA_FINAL) {
		if (status != HTTP_SERVER_REQUEST_DATA_MORE) {
			body_len = 0;
		}
		return false;
	}
	body[body_len] = '\0';

	return true;
}

#define DYNAMIC_RESOURCE(_name, _path, _methods, _cb)                                              \
	static struct http_resource_detail_dynamic _name##_detail = {                              \
		.common = {                                                                        \
			.type = HTTP_RESOURCE_TYPE_DYNAMIC,                                        \
			.bitmask_of_supported_http_methods = (_methods),                           \
			.content_type = "application/json",                                        \
		},                                                                                 \
		.cb = _cb,                                                                         \
	};                                                                                         \
	HTTP_RESOURCE_DEFINE(_name##_res, ww_http, _path, &_name##_detail)

/* Status and control */

static void out_status(void)
{
	struct ww_status st;

	ww_controller_get_status(&st);

	out_printf("{\"present\":%s,\"uuid\":", st.tag_present ? "true" : "false");
	out_str(st.uid);
	out_printf(",\"name\":");
	out_str(st.name);
	out_printf(",\"track\":%u,\"tracks\":%u,\"path\":", st.track, st.num_tracks);
	out_str(st.track_path);
	out_printf(",\"state\":\"%s\",\"pos\":%u,\"volume\":%u,\"volume_max\":%u}",
		   ww_player_state_str(st.player.state), st.player.pos_ms, st.volume,
		   CONFIG_WW_VOLUME_MAX);
}

static int status_cb(struct http_client_ctx *client, enum http_transaction_status status,
		     const struct http_request_ctx *req, struct http_response_ctx *rsp,
		     void *user_data)
{
	if (status != HTTP_SERVER_REQUEST_DATA_FINAL) {
		return 0;
	}
	out_status();

	return respond(rsp, HTTP_200_OK);
}

DYNAMIC_RESOURCE(status, "/api/status", BIT(HTTP_GET), status_cb);

struct control_req {
	const char *cmd;
	int32_t arg;
};

static const struct json_obj_descr control_descr[] = {
	JSON_OBJ_DESCR_PRIM(struct control_req, cmd, JSON_TOK_STRING),
	JSON_OBJ_DESCR_PRIM(struct control_req, arg, JSON_TOK_NUMBER),
};

static const struct {
	const char *name;
	enum ww_cmd cmd;
} control_cmds[] = {
	{"pause", WW_CMD_PAUSE},   {"resume", WW_CMD_RESUME},
	{"next", WW_CMD_NEXT},     {"reset", WW_CMD_RESET}, {"reset_all", WW_CMD_RESET_ALL},
	{"volume", WW_CMD_VOLUME}, {"seek", WW_CMD_SEEK},   {"track", WW_CMD_TRACK},
};

static int control_cb(struct http_client_ctx *client, enum http_transaction_status status,
		      const struct http_request_ctx *req, struct http_response_ctx *rsp,
		      void *user_data)
{
	struct control_req r = {0};

	if (!collect_body(status, req)) {
		return 0;
	}
	body_len = 0;

	if (json_obj_parse(body, strlen(body), control_descr, ARRAY_SIZE(control_descr), &r) <
		    0 ||
	    r.cmd == NULL) {
		return respond_error(rsp, HTTP_400_BAD_REQUEST, -EINVAL);
	}

	for (size_t i = 0; i < ARRAY_SIZE(control_cmds); i++) {
		if (strcmp(r.cmd, control_cmds[i].name) == 0) {
			return respond_result(rsp, ww_event_post_cmd(control_cmds[i].cmd, r.arg));
		}
	}

	return respond_error(rsp, HTTP_400_BAD_REQUEST, -EINVAL);
}

DYNAMIC_RESOURCE(control, "/api/control", BIT(HTTP_POST), control_cb);

/* Playlists */

static int list_one(const char *uuid, void *user_data)
{
	struct ww_playlist *pl = ww_playlist_scratch_lock();

	if (ww_playlist_load(pl, uuid) == 0 && !out_full()) {
		out_printf("%s{\"uuid\":", out_len > 1 ? "," : "");
		out_str(uuid);
		out_printf(",\"name\":");
		out_str(pl->d.name);
		out_printf(",\"tracks\":%u}", pl->d.num_tracks);
	}
	ww_playlist_scratch_unlock(false);

	return 0;
}

static int playlists_cb(struct http_client_ctx *client, enum http_transaction_status status,
			const struct http_request_ctx *req, struct http_response_ctx *rsp,
			void *user_data)
{
	if (status != HTTP_SERVER_REQUEST_DATA_FINAL) {
		return 0;
	}

	out_printf("[");
	ww_playlist_foreach(list_one, NULL);
	out_printf("]");

	return respond(rsp, HTTP_200_OK);
}

DYNAMIC_RESOURCE(playlists, "/api/playlists", BIT(HTTP_GET), playlists_cb);

static void out_playlist(const struct ww_playlist *pl)
{
	struct ww_resume r;

	ww_resume_load(pl->uuid, &r);

	out_printf("{\"uuid\":");
	out_str(pl->uuid);
	out_printf(",\"name\":");
	out_str(pl->d.name);
	out_printf(",\"resume\":{\"track\":%u,\"pos\":%u},\"tracks\":[", r.track, r.pos_ms);
	for (size_t i = 0; i < pl->d.num_tracks && !out_full(); i++) {
		out_printf(i ? "," : "");
		out_str(pl->d.tracks[i]);
	}
	out_printf("]}");
}

struct playlist_req {
	const char *uuid;
	const char *name;
	const char *add;
	int32_t remove;
	int32_t track;
};

static const struct json_obj_descr playlist_req_descr[] = {
	JSON_OBJ_DESCR_PRIM(struct playlist_req, uuid, JSON_TOK_STRING),
	JSON_OBJ_DESCR_PRIM(struct playlist_req, name, JSON_TOK_STRING),
	JSON_OBJ_DESCR_PRIM(struct playlist_req, add, JSON_TOK_STRING),
	JSON_OBJ_DESCR_PRIM(struct playlist_req, remove, JSON_TOK_NUMBER),
	JSON_OBJ_DESCR_PRIM(struct playlist_req, track, JSON_TOK_NUMBER),
};

enum { F_UUID = BIT(0), F_NAME = BIT(1), F_ADD = BIT(2), F_REMOVE = BIT(3), F_TRACK = BIT(4) };

static int playlist_post(struct ww_playlist *pl)
{
	struct playlist_req r = {0};
	int fields;
	int ret;

	fields = json_obj_parse(body, strlen(body), playlist_req_descr,
				ARRAY_SIZE(playlist_req_descr), &r);
	if (fields < 0 || !(fields & F_UUID)) {
		return -EINVAL;
	}

	ret = ww_playlist_load(pl, r.uuid);
	if (ret == -ENOENT) {
		ret = ww_playlist_create(pl, r.uuid, (fields & F_NAME) ? r.name : NULL);
	}
	if (ret == 0 && (fields & F_NAME)) {
		ret = ww_playlist_set_name(pl, r.name);
	}
	if (ret == 0 && (fields & F_ADD)) {
		ret = ww_playlist_add(pl, r.add);
		ret = MIN(ret, 0);
	}
	if (ret == 0 && (fields & F_REMOVE)) {
		ret = ww_playlist_remove_track(pl, r.remove);
	}
	if (ret == 0 && (fields & F_TRACK)) {
		ret = (r.track < 0) ? -EINVAL : ww_controller_cue(pl->uuid, r.track);
	}

	return ret;
}

static int playlist_cb(struct http_client_ctx *client, enum http_transaction_status status,
		       const struct http_request_ctx *req, struct http_response_ctx *rsp,
		       void *user_data)
{
	char uuid[WW_UID_STR_LEN];
	struct ww_playlist *pl;
	bool modified = false;
	int ret;

	if (client->method == HTTP_POST) {
		if (!collect_body(status, req)) {
			return 0;
		}
		body_len = 0;
	} else if (status != HTTP_SERVER_REQUEST_DATA_FINAL) {
		return 0;
	} else if (!query_get(client, "uuid", uuid, sizeof(uuid))) {
		return respond_error(rsp, HTTP_400_BAD_REQUEST, -EINVAL);
	}

	pl = ww_playlist_scratch_lock();

	switch (client->method) {
	case HTTP_GET:
		ret = ww_playlist_load(pl, uuid);
		break;
	case HTTP_POST:
		ret = playlist_post(pl);
		modified = true;
		break;
	case HTTP_DELETE:
		ret = ww_playlist_delete(uuid);
		if (ret == 0) {
			ww_resume_clear(uuid);
			modified = true;
		}
		break;
	default:
		ret = -ENOTSUP;
		break;
	}

	if (ret == 0 && client->method != HTTP_DELETE) {
		out_playlist(pl);
		ret = respond(rsp, HTTP_200_OK);
	} else {
		ret = respond_result(rsp, ret);
	}
	ww_playlist_scratch_unlock(modified);

	return ret;
}

DYNAMIC_RESOURCE(playlist, "/api/playlist", BIT(HTTP_GET) | BIT(HTTP_POST) | BIT(HTTP_DELETE),
		 playlist_cb);

/* Files */

static struct {
	struct fs_file_t file;
	bool open;
	int err;
	size_t size;
	char path[WW_PATH_MAX];
} upload;

static int list_files(const char *path, struct http_response_ctx *rsp)
{
	struct fs_dir_t dir;
	struct fs_dirent ent;
	bool first = true;
	int ret;

	fs_dir_t_init(&dir);
	ret = fs_opendir(&dir, path);
	if (ret) {
		return respond_result(rsp, ret);
	}

	out_printf("[");
	while (fs_readdir(&dir, &ent) == 0 && ent.name[0] != '\0' && !out_full()) {
		out_printf(first ? "{\"name\":" : ",{\"name\":");
		out_str(ent.name);
		out_printf(",\"dir\":%s,\"size\":%u}",
			   ent.type == FS_DIR_ENTRY_DIR ? "true" : "false", (unsigned int)ent.size);
		first = false;
	}
	fs_closedir(&dir);
	out_printf("]");

	return respond(rsp, HTTP_200_OK);
}

static void upload_close(bool keep)
{
	if (upload.open) {
		fs_close(&upload.file);
		upload.open = false;
		if (!keep) {
			fs_unlink(upload.path);
		}
	}
}

static int upload_data(struct http_client_ctx *client, enum http_transaction_status status,
		       const struct http_request_ctx *req, struct http_response_ctx *rsp)
{
	char card_path[WW_PATH_MAX];
	ssize_t n;

	if (status == HTTP_SERVER_TRANSACTION_ABORTED) {
		LOG_WRN("Upload of %s aborted", upload.path);
		upload_close(false);
		upload.err = 0;
		return 0;
	}
	if (status == HTTP_SERVER_TRANSACTION_COMPLETE) {
		upload.err = 0;
		return 0;
	}

	if (!upload.open && upload.err == 0) {
		upload.size = 0;
		upload.err = query_path(client, card_path, sizeof(card_path)) ? 0 : -EINVAL;
		if (upload.err == 0) {
			upload.err = ww_storage_path(upload.path, sizeof(upload.path), card_path);
		}
		if (upload.err == 0) {
			fs_file_t_init(&upload.file);
			upload.err = fs_open(&upload.file, upload.path,
					     FS_O_CREATE | FS_O_WRITE | FS_O_TRUNC);
			upload.open = (upload.err == 0);
		}
		if (upload.err == 0) {
			LOG_INF("Upload %s", card_path);
		}
	}

	if (upload.open && req->data_len > 0) {
		n = fs_write(&upload.file, req->data, req->data_len);
		if (n != req->data_len) {
			upload.err = n < 0 ? n : -ENOSPC;
			upload_close(false);
		}
		upload.size += req->data_len;
	}

	if (status != HTTP_SERVER_REQUEST_DATA_FINAL) {
		return 0;
	}

	upload_close(true);
	if (upload.err) {
		return respond_result(rsp, upload.err);
	}
	LOG_INF("Upload done, %u bytes", upload.size);

	return respond_result(rsp, 0);
}

static int files_cb(struct http_client_ctx *client, enum http_transaction_status status,
		    const struct http_request_ctx *req, struct http_response_ctx *rsp,
		    void *user_data)
{
	char card_path[WW_PATH_MAX];
	char path[WW_PATH_MAX];

	if (client->method == HTTP_PUT) {
		return upload_data(client, status, req, rsp);
	}
	if (status != HTTP_SERVER_REQUEST_DATA_FINAL) {
		return 0;
	}

	if (!query_path(client, card_path, sizeof(card_path)) ||
	    ww_storage_path(path, sizeof(path), card_path)) {
		return respond_error(rsp, HTTP_400_BAD_REQUEST, -EINVAL);
	}

	switch (client->method) {
	case HTTP_GET:
		return list_files(path, rsp);
	case HTTP_POST:
		return respond_result(rsp, ww_storage_mkdirs(card_path));
	case HTTP_DELETE:
		return respond_result(rsp, fs_unlink(path));
	default:
		return respond_error(rsp, HTTP_400_BAD_REQUEST, -ENOTSUP);
	}
}

DYNAMIC_RESOURCE(files, "/api/files",
		 BIT(HTTP_GET) | BIT(HTTP_POST) | BIT(HTTP_PUT) | BIT(HTTP_DELETE), files_cb);

int ww_http_init(void)
{
	int ret = http_server_start();

	if (ret) {
		LOG_ERR("HTTP server start failed: %d", ret);
		return ret;
	}
	LOG_INF("Web interface on port %u", http_port);

	return 0;
}
```

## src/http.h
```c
/*
 * Copyright (c) 2025 Christoph Jans <jans.christoph@gmail.com>
 *
 * SPDX-License-Identifier: Apache-2.0
 */
/* Web interface: UI and REST API */

#ifndef WW_HTTP_H_
#define WW_HTTP_H_

int ww_http_init(void);

#endif /* WW_HTTP_H_ */
```

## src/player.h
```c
/*
 * Copyright (c) 2025 Christoph Jans <jans.christoph@gmail.com>
 *
 * SPDX-License-Identifier: Apache-2.0
 */
/* MP3 player thread: SD card -> decoder -> volume -> audio output */

#ifndef WW_PLAYER_H_
#define WW_PLAYER_H_

#include <stdint.h>

enum ww_player_state {
	WW_PLAYER_STOPPED,
	WW_PLAYER_PLAYING,
	WW_PLAYER_PAUSED,
};

struct ww_player_status {
	enum ww_player_state state;
	uint32_t pos_ms;
	uint32_t rate;
	uint8_t channels;
	uint16_t bitrate_kbps;
};

/* Called from the player thread when a track played to its end (err == 0) or failed */
typedef void (*ww_player_done_cb_t)(int err);

int ww_player_init(ww_player_done_cb_t done_cb);

/* All calls below are synchronous: they return once the player thread handled them */
int ww_player_play(const char *card_path, uint32_t start_ms);
void ww_player_pause(void);
void ww_player_resume(void);
void ww_player_stop(void);
int ww_player_seek(uint32_t pos_ms);

void ww_player_set_volume(uint8_t volume);
void ww_player_get_status(struct ww_player_status *st);

const char *ww_player_state_str(enum ww_player_state state);

#endif /* WW_PLAYER_H_ */
```
